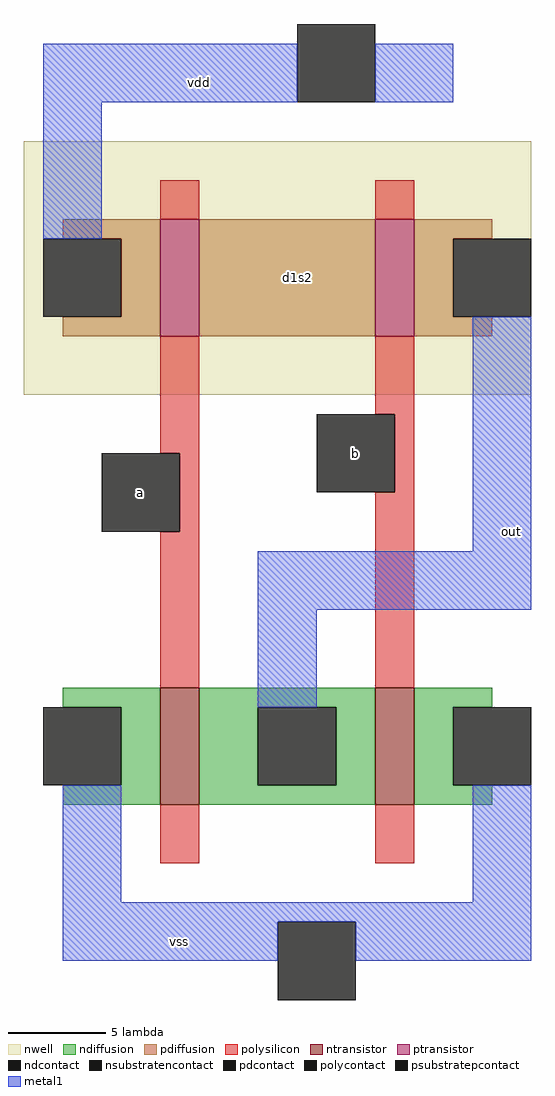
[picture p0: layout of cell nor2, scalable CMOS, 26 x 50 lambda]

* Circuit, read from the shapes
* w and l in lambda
.subckt nor2 a b d1s2 out vdd vss
M1 out a vss vss nfet w=6 l=2
M2 vss b out vss nfet w=6 l=2
M3 d1s2 a vdd n1 pfet w=6 l=2
M4 out b d1s2 n1 pfet w=6 l=2
.ends

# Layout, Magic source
magic
tech scmos
<< nwell >>
rect -14 7 12 20
<< polysilicon >>
rect -7 16 -5 18
rect 4 16 6 18
rect -7 4 -5 10
rect 4 6 6 10
rect -6 0 -5 4
rect 5 2 6 6
rect -7 -8 -5 0
rect 4 -8 6 2
rect -7 -17 -5 -14
rect 4 -17 6 -14
<< ndiffusion >>
rect -12 -9 -7 -8
rect -9 -13 -7 -9
rect -12 -14 -7 -13
rect -5 -9 4 -8
rect -5 -13 -2 -9
rect 2 -13 4 -9
rect -5 -14 4 -13
rect 6 -9 10 -8
rect 6 -13 8 -9
rect 6 -14 10 -13
<< pdiffusion >>
rect -12 15 -7 16
rect -9 11 -7 15
rect -12 10 -7 11
rect -5 10 4 16
rect 6 15 10 16
rect 6 11 8 15
rect 6 10 10 11
<< metal1 >>
rect -13 22 0 25
rect 4 22 8 25
rect -13 15 -10 22
rect 9 -1 12 11
rect -2 -4 12 -1
rect -2 -9 1 -4
rect -12 -19 -9 -13
rect 9 -19 12 -13
rect -12 -20 12 -19
rect -12 -22 -1 -20
rect 3 -22 12 -20
<< ntransistor >>
rect -7 -14 -5 -8
rect 4 -14 6 -8
<< ptransistor >>
rect -7 10 -5 16
rect 4 10 6 16
<< polycontact >>
rect -10 0 -6 4
rect 1 2 5 6
<< ndcontact >>
rect -13 -13 -9 -9
rect -2 -13 2 -9
rect 8 -13 12 -9
<< pdcontact >>
rect -13 11 -9 15
rect 8 11 12 15
<< psubstratepcontact >>
rect -1 -24 3 -20
<< nsubstratencontact >>
rect 0 22 4 26
<< labels >>
rlabel metal1 -5 23 -5 23 1 vdd
rlabel metal1 -6 -21 -6 -21 1 vss
rlabel polycontact -8 2 -8 2 1 a
rlabel polycontact 3 4 3 4 1 b
rlabel metal1 11 0 11 0 7 out
rlabel pdiffusion 0 13 0 13 1 d1s2
<< end >>
